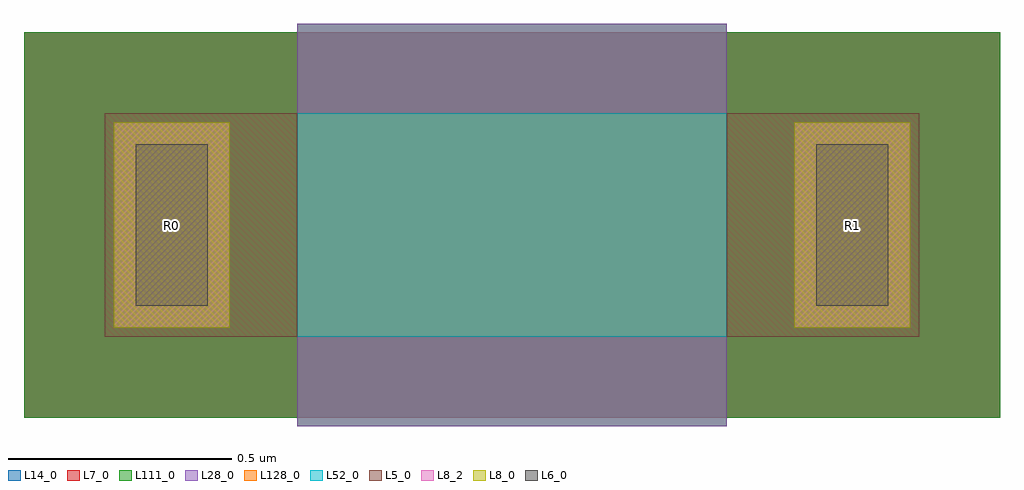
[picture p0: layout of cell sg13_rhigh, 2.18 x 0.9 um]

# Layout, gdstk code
from math import pi, radians
import gdstk
lib = gdstk.Library(unit=1e-6, precision=5e-09)
def R(c, l, rs):  # rectangles x0, y0, x1, y1
    for r in rs: c.add(gdstk.rectangle(r[:2], r[2:], *l))
L5_0 = (5, 0)
L6_0 = (6, 0)
L7_0 = (7, 0)
L8_0 = (8, 0)
L8_2 = (8, 2)
L14_0 = (14, 0)
L28_0 = (28, 0)
L52_0 = (52, 0)
L111_0 = (111, 0)
L128_0 = (128, 0)

rhigh = lib.new_cell('rhigh')
R(rhigh, L5_0, [(0,-0.43,0.5,0), (0,0.96,0.5,1.39)])
R(rhigh, L6_0, [(0.07,-0.36,0.43,-0.2), (0.07,1.16,0.43,1.32)])
R(rhigh, L7_0, [(-0.18,-0.61,0.68,0.18), (-0.18,0,0.68,0.96), (-0.18,0,0.68,0.96), (-0.18,0.78,0.68,1.57)])
R(rhigh, L8_0, [(0.02,-0.41,0.48,-0.15), (0.02,1.11,0.48,1.37)])
R(rhigh, L8_2, [(0.02,-0.41,0.48,-0.15), (0.02,1.11,0.48,1.37)])
R(rhigh, L14_0, [(-0.18,-0.61,0.68,0.18), (-0.18,0,0.68,0.96), (-0.18,0,0.68,0.96), (-0.18,0.78,0.68,1.57)])
R(rhigh, L28_0, [(-0.2,0,0.7,0.96)])
R(rhigh, L52_0, [(0,0,0.5,0.96)])
R(rhigh, L111_0, [(-0.18,-0.61,0.68,0.18), (-0.2,0,0.7,0.96), (-0.18,0.78,0.68,1.57)])
R(rhigh, L128_0, [(0,0,0.5,0.96)])
rhigh.add(gdstk.Label('rhigh r=3158.261', (0.25,0.48), layer=63, texttype=0))
rhigh.add(gdstk.Label('rhigh', (0.25,0.48), layer=52, texttype=0))

sg13_rhigh = lib.new_cell('sg13_rhigh')
R(sg13_rhigh, L8_2, [(0.265,0.385,0.395,0.515), (1.785,0.385,1.915,0.515)])
sg13_rhigh.add(gdstk.Reference(rhigh, (0.61,0.7), rotation=3*pi/2))
sg13_rhigh.add(gdstk.Label('R0', (0.33,0.45), layer=8, texttype=25))
sg13_rhigh.add(gdstk.Label('R1', (1.85,0.45), layer=8, texttype=25))

lib.write_gds('sg13_rhigh.gds')
